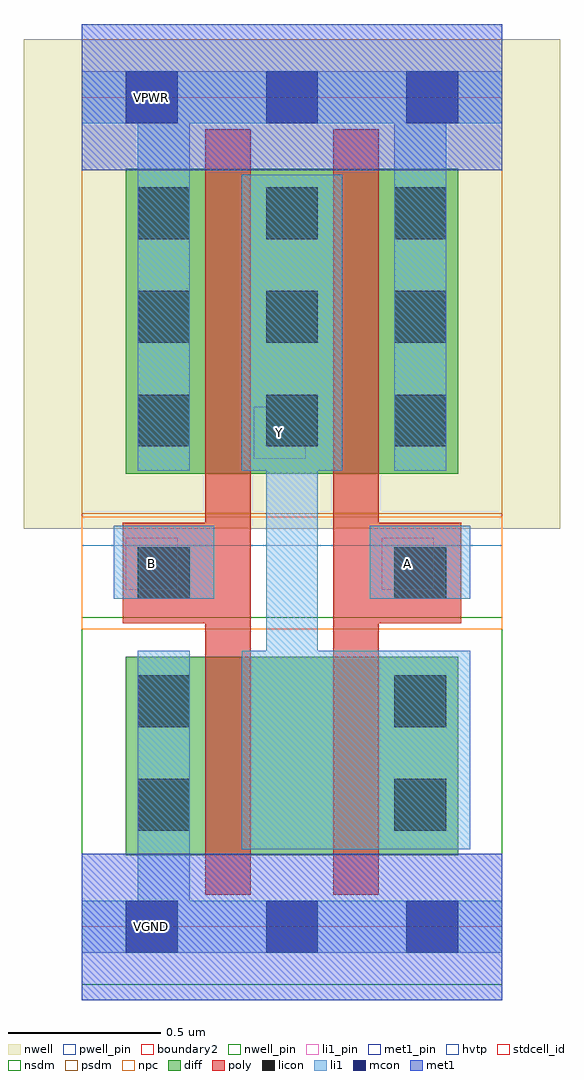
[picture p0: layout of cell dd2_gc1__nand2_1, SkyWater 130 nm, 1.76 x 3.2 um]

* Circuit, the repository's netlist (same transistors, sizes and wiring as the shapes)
.subckt dd2_gc1__nand2_1 A B VGND VNB VPB VPWR Y
X0 Y A n1 VNB sky130_fd_pr__nfet_01v8 w=0.65 l=0.15
X1 n1 B VGND VNB sky130_fd_pr__nfet_01v8 w=0.65 l=0.15
X2 Y A VPWR VPB sky130_fd_pr__pfet_01v8_hvt w=1 l=0.15
X3 Y B VPWR VPB sky130_fd_pr__pfet_01v8_hvt w=1 l=0.15
.ends

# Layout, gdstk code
import gdstk
lib = gdstk.Library(unit=1e-6, precision=1e-09)
def R(c, l, rs):  # rectangles x0, y0, x1, y1
    for r in rs: c.add(gdstk.rectangle(r[:2], r[2:], *l))
def A(c, l, x, y, w, h, nx, ny, dx, dy):  # array of equal rectangles
    R(c, l, [(x+i*dx, y+j*dy, x+i*dx+w, y+j*dy+h) for i in range(nx) for j in range(ny)])
nwell_pin = (64, 16)
nwell = (64, 20)
diff = (65, 20)
poly = (66, 20)
licon = (66, 44)
li1_pin = (67, 16)
li1 = (67, 20)
mcon = (67, 44)
met1_pin = (68, 16)
met1 = (68, 20)
hvtp = (78, 44)
stdcell_id = (81, 4)
nsdm = (93, 44)
psdm = (94, 20)
npc = (95, 20)
pwell_pin = (122, 16)
boundary2 = (236, 0)

dd2_gc1__nand2_1 = lib.new_cell('dd2_gc1__nand2_1')
R(dd2_gc1__nand2_1, nwell_pin, [(0.145,2.635,0.315,2.805)])
R(dd2_gc1__nand2_1, nwell, [(-0.19,1.305,1.57,2.91)])
R(dd2_gc1__nand2_1, diff, [(0.145,0.235,1.235,0.885), (0.145,1.485,1.235,2.485)])
R(dd2_gc1__nand2_1, poly, [(0.405,0.105,0.555,2.615), (0.825,0.105,0.975,2.615), (0.135,0.995,0.555,1.325), (0.825,0.995,1.245,1.325)])
A(dd2_gc1__nand2_1, licon, 0.185, 1.575, 0.17, 0.17, 3, 3, 0.42, 0.34)
R(dd2_gc1__nand2_1, licon, [(0.185,0.315,0.355,0.485), (1.025,0.315,1.195,0.485), (0.185,0.655,0.355,0.825), (1.025,0.655,1.195,0.825), (0.185,1.075,0.355,1.245), (1.025,1.075,1.195,1.245)])
R(dd2_gc1__nand2_1, li1_pin, [(0.145,1.105,0.315,1.275), (0.985,1.105,1.155,1.275), (0.565,1.535,0.735,1.705)])
R(dd2_gc1__nand2_1, li1, [(0,-0.085,1.38,0.085), (0.185,-0.085,0.355,0.905), (0.525,0.255,1.275,0.905), (0.605,0.895,0.775,1.505), (0.105,1.075,0.435,1.315), (0.945,1.075,1.275,1.315), (0.185,1.495,0.355,2.805), (0.525,1.495,0.855,2.465), (1.025,1.495,1.195,2.805), (0,2.635,1.38,2.805)])
A(dd2_gc1__nand2_1, mcon, 0.145, -0.085, 0.17, 0.17, 3, 2, 0.46, 2.72)
R(dd2_gc1__nand2_1, met1_pin, [(0.145,-0.085,0.315,0.085), (0.145,2.635,0.315,2.805)])
R(dd2_gc1__nand2_1, met1, [(0,-0.24,1.38,0.24), (0,2.48,1.38,2.96)])
R(dd2_gc1__nand2_1, hvtp, [(0,1.25,1.38,2.72)])
R(dd2_gc1__nand2_1, stdcell_id, [(0,0,1.38,2.72)])
R(dd2_gc1__nand2_1, nsdm, [(0,-0.19,1.38,1.015)])
R(dd2_gc1__nand2_1, psdm, [(0,1.355,1.38,2.91)])
R(dd2_gc1__nand2_1, npc, [(0,0.975,1.38,1.345)])
R(dd2_gc1__nand2_1, pwell_pin, [(0.145,-0.085,0.315,0.085)])
R(dd2_gc1__nand2_1, boundary2, [(0,0,1.38,2.72)])
dd2_gc1__nand2_1.add(gdstk.Label('B', (0.23,1.19), layer=67, texttype=5))
dd2_gc1__nand2_1.add(gdstk.Label('A', (1.07,1.19), layer=67, texttype=5))
dd2_gc1__nand2_1.add(gdstk.Label('Y', (0.65,1.62), layer=67, texttype=5))
dd2_gc1__nand2_1.add(gdstk.Label('VGND', (0.23,0), layer=68, texttype=5))
dd2_gc1__nand2_1.add(gdstk.Label('VPWR', (0.23,2.72), layer=68, texttype=5))
dd2_gc1__nand2_1.add(gdstk.Label('VPB', (0.23,2.72), layer=64, texttype=5))
dd2_gc1__nand2_1.add(gdstk.Label('VNB', (0.23,0), layer=64, texttype=59))

lib.write_gds('dd2_gc1__nand2_1.gds')
